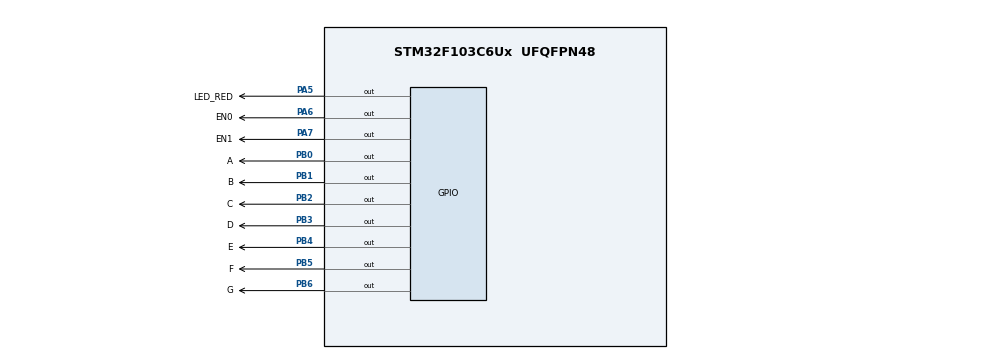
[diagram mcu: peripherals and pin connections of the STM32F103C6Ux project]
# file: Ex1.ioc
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Mcu.Family=STM32F1
Mcu.Name=STM32F103C6Ux
Mcu.Package=UFQFPN48
NVIC.PriorityGroup=NVIC_PRIORITYGROUP_4
NVIC.TIM2_IRQn=true\:0\:0\:false\:false\:true\:true\:true
PA5.GPIO_Label=LED_RED
PA5.Signal=GPIO_Output
PA6.GPIO_Label=EN0
PA6.Signal=GPIO_Output
PA7.GPIO_Label=EN1
PA7.Signal=GPIO_Output
PB0.GPIO_Label=A
PB0.Signal=GPIO_Output
PB1.GPIO_Label=B
PB1.Signal=GPIO_Output
PB2.GPIO_Label=C
PB2.Signal=GPIO_Output
PB3.GPIO_Label=D
PB3.Signal=GPIO_Output
PB4.GPIO_Label=E
PB4.Signal=GPIO_Output
PB5.GPIO_Label=F
PB5.Signal=GPIO_Output
PB6.GPIO_Label=G
PB6.Signal=GPIO_Output
ProjectManager.HeapSize=0x200
ProjectManager.StackSize=0x400
ProjectManager.TargetToolchain=STM32CubeIDE
RCC.APB1Freq_Value=8000000
RCC.APB2Freq_Value=8000000
TIM2.Period=9
TIM2.Prescaler=7999
VP_SYS_VS_ND.Mode=No_Debug
VP_TIM2_VS_ClockSourceINT.Mode=Internal
board=custom

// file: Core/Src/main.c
/* USER CODE BEGIN Header */
/**
  ******************************************************************************
  * @file           : main.c
  * @brief          : Main program body
  ******************************************************************************
  * @attention
  *
  * <h2><center>&copy; Copyright (c) 2022 STMicroelectronics.
  * All rights reserved.</center></h2>
  *
  * This software component is licensed by ST under BSD 3-Clause license,
  * the "License"; You may not use this file except in compliance with the
  * License. You may obtain a copy of the License at:
  *                        opensource.org/licenses/BSD-3-Clause
  *
  ******************************************************************************
  */
/* USER CODE END Header */
#include "main.h"

TIM_HandleTypeDef htim2;

void SystemClock_Config(void);
static void MX_TIM2_Init(void);
static void MX_GPIO_Init(void);

void display7SEG(int num)
{
	int seg[10]={0xC0, 0xF9, 0xA4, 0xB0, 0x99, 0x92, 0x82, 0xF8, 0x80, 0x90};
	HAL_GPIO_WritePin(GPIOB, A_Pin,((seg[num]>>0)&0x01));
	HAL_GPIO_WritePin(GPIOB, B_Pin,((seg[num]>>1)&0x01));
	HAL_GPIO_WritePin(GPIOB, C_Pin,((seg[num]>>2)&0x01));
	HAL_GPIO_WritePin(GPIOB, D_Pin,((seg[num]>>3)&0x01));
	HAL_GPIO_WritePin(GPIOB, E_Pin,((seg[num]>>4)&0x01));
	HAL_GPIO_WritePin(GPIOB, F_Pin,((seg[num]>>5)&0x01));
	HAL_GPIO_WritePin(GPIOB, G_Pin,((seg[num]>>6)&0x01));
}
int main(void)
{

  /* MCU Configuration--------------------------------------------------------*/

  /* Reset of all peripherals, Initializes the Flash interface and the Systick. */
  HAL_Init();

  /* Configure the system clock */
  SystemClock_Config();

  /* Initialize all configured peripherals */
  MX_TIM2_Init();
  MX_GPIO_Init();
  /* USER CODE BEGIN 2 */
  HAL_TIM_Base_Start_IT(&htim2);
  /* USER CODE END 2 */

  /* Infinite loop */
  while (1)
  {

  }
}

void SystemClock_Config(void)
{
  RCC_OscInitTypeDef RCC_OscInitStruct = {0};
  RCC_ClkInitTypeDef RCC_ClkInitStruct = {0};

  /** Initializes the RCC Oscillators according to the specified parameters
  * in the RCC_OscInitTypeDef structure.
  */
  RCC_OscInitStruct.OscillatorType = RCC_OSCILLATORTYPE_HSI;
  RCC_OscInitStruct.HSIState = RCC_HSI_ON;
  RCC_OscInitStruct.HSICalibrationValue = RCC_HSICALIBRATION_DEFAULT;
  RCC_OscInitStruct.PLL.PLLState = RCC_PLL_NONE;
  if (HAL_RCC_OscConfig(&RCC_OscInitStruct) != HAL_OK)
  {
    Error_Handler();
  }
  /** Initializes the CPU, AHB and APB buses clocks
  */
  RCC_ClkInitStruct.ClockType = RCC_CLOCKTYPE_HCLK|RCC_CLOCKTYPE_SYSCLK
                              |RCC_CLOCKTYPE_PCLK1|RCC_CLOCKTYPE_PCLK2;
  RCC_ClkInitStruct.SYSCLKSource = RCC_SYSCLKSOURCE_HSI;
  RCC_ClkInitStruct.AHBCLKDivider = RCC_SYSCLK_DIV1;
  RCC_ClkInitStruct.APB1CLKDivider = RCC_HCLK_DIV1;
  RCC_ClkInitStruct.APB2CLKDivider = RCC_HCLK_DIV1;

  if (HAL_RCC_ClockConfig(&RCC_ClkInitStruct, FLASH_LATENCY_0) != HAL_OK)
  {
    Error_Handler();
  }
}

static void MX_TIM2_Init(void)
{

  TIM_ClockConfigTypeDef sClockSourceConfig = {0};
  TIM_MasterConfigTypeDef sMasterConfig = {0};

  htim2.Instance = TIM2;
  htim2.Init.Prescaler = 7999;
  htim2.Init.CounterMode = TIM_COUNTERMODE_UP;
  htim2.Init.Period = 9;
  htim2.Init.ClockDivision = TIM_CLOCKDIVISION_DIV1;
  htim2.Init.AutoReloadPreload = TIM_AUTORELOAD_PRELOAD_DISABLE;
  if (HAL_TIM_Base_Init(&htim2) != HAL_OK)
  {
    Error_Handler();
  }
  sClockSourceConfig.ClockSource = TIM_CLOCKSOURCE_INTERNAL;
  if (HAL_TIM_ConfigClockSource(&htim2, &sClockSourceConfig) != HAL_OK)
  {
    Error_Handler();
  }
  sMasterConfig.MasterOutputTrigger = TIM_TRGO_RESET;
  sMasterConfig.MasterSlaveMode = TIM_MASTERSLAVEMODE_DISABLE;
  if (HAL_TIMEx_MasterConfigSynchronization(&htim2, &sMasterConfig) != HAL_OK)
  {
    Error_Handler();
  }

}

static void MX_GPIO_Init(void)
{
  GPIO_InitTypeDef GPIO_InitStruct = {0};

  /* GPIO Ports Clock Enable */
  __HAL_RCC_GPIOA_CLK_ENABLE();
  __HAL_RCC_GPIOB_CLK_ENABLE();

  /*Configure GPIO pin Output Level */
  HAL_GPIO_WritePin(GPIOA, LED_RED_Pin|EN0_Pin|EN1_Pin, GPIO_PIN_RESET);

  /*Configure GPIO pin Output Level */
  HAL_GPIO_WritePin(GPIOB, A_Pin|B_Pin|C_Pin|D_Pin
                          |E_Pin|F_Pin|G_Pin, GPIO_PIN_RESET);

  /*Configure GPIO pins : LED_RED_Pin EN0_Pin EN1_Pin */
  GPIO_InitStruct.Pin = LED_RED_Pin|EN0_Pin|EN1_Pin;
  GPIO_InitStruct.Mode = GPIO_MODE_OUTPUT_PP;
  GPIO_InitStruct.Pull = GPIO_NOPULL;
  GPIO_InitStruct.Speed = GPIO_SPEED_FREQ_LOW;
  HAL_GPIO_Init(GPIOA, &GPIO_InitStruct);

  /*Configure GPIO pins : A_Pin B_Pin C_Pin D_Pin
                           E_Pin F_Pin G_Pin */
  GPIO_InitStruct.Pin = A_Pin|B_Pin|C_Pin|D_Pin
                          |E_Pin|F_Pin|G_Pin;
  GPIO_InitStruct.Mode = GPIO_MODE_OUTPUT_PP;
  GPIO_InitStruct.Pull = GPIO_NOPULL;
  GPIO_InitStruct.Speed = GPIO_SPEED_FREQ_LOW;
  HAL_GPIO_Init(GPIOB, &GPIO_InitStruct);

}

/* USER CODE BEGIN 4 */
int count=51;
int seg=1;
int turn=0;
void HAL_TIM_PeriodElapsedCallback(TIM_HandleTypeDef *htim)
{
	switch(turn)
	{
	case 0:
	{
		HAL_GPIO_WritePin(GPIOA, EN1_Pin,SET);
		HAL_GPIO_WritePin(GPIOA, EN0_Pin, SET);
		turn=1;
		count--;
		break;
	}
	case 1:
		HAL_GPIO_WritePin(GPIOA, EN1_Pin,SET);
		HAL_GPIO_WritePin(GPIOA, EN0_Pin, RESET);
		seg=1;
		display7SEG(seg);
		count--;
		if(count<=0)
		{
			count=50;
			turn=2;
		}
		break;
	case 2:
		HAL_GPIO_WritePin(GPIOA, EN1_Pin,RESET);
		HAL_GPIO_WritePin(GPIOA, EN0_Pin, SET);
		seg=2;
		display7SEG(seg);
		count--;
		if(count<=0)
		{
			count=50;
			turn=1;
		}
		break;
	default:
		break;
	}
}
/* USER CODE END 4 */

void Error_Handler(void)
{
  __disable_irq();
  while (1)
  {
  }
}

/************************ (C) COPYRIGHT STMicroelectronics *****END OF FILE****/
